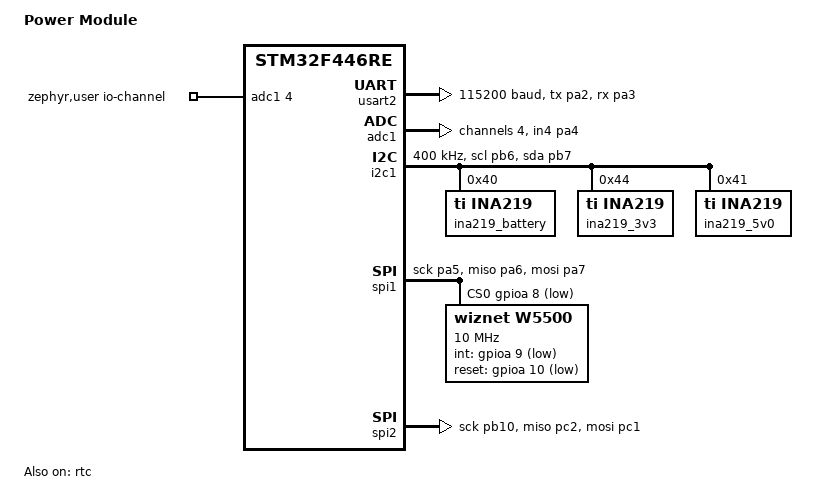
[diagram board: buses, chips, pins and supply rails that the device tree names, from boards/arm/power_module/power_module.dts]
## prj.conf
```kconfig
# Copyright (c) 2024 Aaron Chan
# SPDX-License-Identifier: Apache-2.0

CONFIG_LAUNCH_LIB=y
```

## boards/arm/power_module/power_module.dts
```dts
/*
 * Copyright (c) 2023 Aaron Chan
 *
 * SPDX-License-Identifier: Apache-2.0
 */

/dts-v1/;
#include <st/f4/stm32f446Xe.dtsi>
#include <st/f4/stm32f446r(c-e)tx-pinctrl.dtsi>
#include <zephyr/dt-bindings/input/input-event-codes.h>

/ {
	model = "Power Module";
	compatible = "st,stm32f446re-nucleo";

	chosen {
		zephyr,console = &usart2;
		zephyr,shell-uart = &usart2;
		zephyr,sram = &sram0;
		zephyr,flash = &flash0;
	};

	leds: leds {
		compatible = "gpio-leds";
	};

    zephyr,user {
        io-channels = <&adc1 4>;
    };

    aliases {
	};
};

&clk_lsi {
	status = "okay";
};

&clk_hsi {
	clock-frequency = <DT_FREQ_M(16)>;
	status = "okay";
};

&pll {
	div-m = <8>;
	mul-n = <90>;
	div-p = <2>;
	clocks = <&clk_hsi>;
	status = "okay";
};

&rcc {
	clocks = <&pll>;
	clock-frequency = <DT_FREQ_M(45)>;
	ahb-prescaler = <2>;
	apb1-prescaler = <2>;
	apb2-prescaler = <1>;
};

// Modify when we finally get UART on REV2
&usart2 {
	pinctrl-0 = <&usart2_tx_pa2 &usart2_rx_pa3>;
	pinctrl-names = "default";
	current-speed = <115200>;
	status = "okay"; 
};

&adc1 {
	pinctrl-0 = <&adc1_in4_pa4>;
	pinctrl-names = "default";
	st,adc-clock-source = <SYNC>;
	st,adc-prescaler = <2>;
	status = "okay";
    
    #address-cells = <1>;
	#size-cells = <0>;
    
    channel@4 {
		reg = <4>;
		zephyr,gain = "ADC_GAIN_1";
		zephyr,reference = "ADC_REF_INTERNAL";
		zephyr,acquisition-time = <ADC_ACQ_TIME_DEFAULT>;
		zephyr,resolution = <12>;
	};
};

&i2c1 {
	pinctrl-0 = <&i2c1_scl_pb6 &i2c1_sda_pb7>;
	pinctrl-names = "default";
	status = "okay";
	clock-frequency = <I2C_BITRATE_FAST>;

    ina219_battery@40 {
		status = "okay";
		compatible = "ti,ina219";
		reg = <0x40>;
		brng = <0>;
		pg = <0>;
		sadc = <13>;
		badc = <13>;
		shunt-milliohm = <100>;
		lsb-microamp = <10>;
	};

    ina219_3v3@44 {
		status = "okay";
		compatible = "ti,ina219";
		reg = <0x44>;
		brng = <0>;
		pg = <0>;
		sadc = <13>;
		badc = <13>;
		shunt-milliohm = <100>;
		lsb-microamp = <10>;
	};

    ina219_5v0@41 {
		status = "okay";
		compatible = "ti,ina219";
		reg = <0x41>;
		brng = <0>;
		pg = <0>;
		sadc = <13>;
		badc = <13>;
		shunt-milliohm = <100>;
		lsb-microamp = <10>;
	};
};

&spi1 {
	pinctrl-0 = <&spi1_sck_pa5 &spi1_miso_pa6 &spi1_mosi_pa7>;
    cs-gpios = <&gpioa 8 GPIO_ACTIVE_LOW>;
	pinctrl-names = "default";
	status = "okay";

    w5500: w5500@0 {
        compatible = "wiznet,w5500";
        reg = <0x0>;
        spi-max-frequency = <10000000>;
        int-gpios = <&gpioa 9 GPIO_ACTIVE_LOW>;
        reset-gpios = <&gpioa 10 GPIO_ACTIVE_LOW>;
    };
};

&spi2 {
	pinctrl-0 = <&spi2_sck_pb10 &spi2_miso_pc2 &spi2_mosi_pc1>;
    cs-gpios = <&gpioc 0 GPIO_ACTIVE_LOW>;
	pinctrl-names = "default";
	status = "okay";
};

&rtc {
	clocks = <&rcc STM32_CLOCK_BUS_APB1 0x10000000>,
		 <&rcc STM32_SRC_LSI RTC_SEL(2)>;
	status = "okay";
};

&backup_sram {
	status = "okay";
};

&flash0 {

	partitions {
		compatible = "fixed-partitions";
		#address-cells = <1>;
		#size-cells = <1>;

		boot_partition: partition@0 {
			label = "mcuboot";
			reg = <0x00000000 DT_SIZE_K(64)>;
			read-only;
		};

		/*
		 * The flash starting at 0x00010000 and ending at
		 * 0x0001ffff (sectors 16-31) is reserved for use
		 * by the application.
		 */
		storage_partition: partition@10000 {
			label = "storage";
			reg = <0x00010000 DT_SIZE_K(64)>;
		};

		slot0_partition: partition@20000 {
			label = "image-0";
			reg = <0x00020000 DT_SIZE_K(128)>;
		};
		slot1_partition: partition@40000 {
			label = "image-1";
			reg = <0x00040000 DT_SIZE_K(128)>;
		};
		scratch_partition: partition@60000 {
			label = "image-scratch";
			reg = <0x00060000 DT_SIZE_K(128)>;
		};
	};
};
```

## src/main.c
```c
/*
 * Copyright (c) 2023 Aaron Chan
 *
 * SPDX-License-Identifier: Apache-2.0
 */

#include "telem.h"
#include <launch/net_utils.h>

#include <zephyr/fs/fs.h>
#include <zephyr/fs/littlefs.h>
#include <zephyr/kernel.h>
#include <zephyr/logging/log.h>
#include <zephyr/storage/flash_map.h>

LOG_MODULE_REGISTER(main, CONFIG_APP_LOG_LEVEL);

static int init(void) {
    int ret = -1;
    // Guarantee physical layer before initializing upper layers
    if (!init_eth_iface()) {
        ret = init_net_stack();
    } 
    
    init_telem_tasks();
    return 0;
}


int main(void) {
    if (init()) {
        return -1;
    }

    // Won't run if initializing the network stack failed
    while (true) {
        convert_and_send();

        k_sleep(K_MSEC(100));
    }
    return 0;
}
```

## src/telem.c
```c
/*
 * Copyright (c) 2023 Aaron Chan
 *
 * SPDX-License-Identifier: Apache-2.0
 */

#include "telem.h"
#include <launch/net_utils.h>
#include <stdint.h>

#include <zephyr/kernel.h>

#include <zephyr/drivers/adc.h>
#include <zephyr/drivers/gpio.h>

#include <zephyr/logging/log.h>

#define STACK_SIZE (2048)

LOG_MODULE_REGISTER(telem, CONFIG_APP_LOG_LEVEL);

//static K_THREAD_STACK_DEFINE(adc_stack, STACK_SIZE);
static K_THREAD_STACK_ARRAY_DEFINE(stacks, 4, STACK_SIZE);

static power_module_data_t power_module_data = {0};
static struct k_thread threads[4] = {0};

static void ina_task(void *p_id, void *unused1, void *unused2) {
    const struct device *dev;
    ina_data_t *ina_data;

    switch (POINTER_TO_INT(p_id)) {
        case 0:
            dev = DEVICE_DT_GET(DT_INST(0, ti_ina219));
            ina_data = &power_module_data.ina_battery;
            break;
        case 1:
            dev = DEVICE_DT_GET(DT_INST(1, ti_ina219));
            ina_data = &power_module_data.ina_3v3;
            break;
        case 2:
            dev = DEVICE_DT_GET(DT_INST(2, ti_ina219));
            ina_data = &power_module_data.ina_5v0;
            break;
        default:
            return;
    }


    while (true) {
        sensor_sample_fetch(dev);
        sensor_channel_get(dev, SENSOR_CHAN_VOLTAGE, &ina_data->voltage);
        sensor_channel_get(dev, SENSOR_CHAN_POWER, &ina_data->power);
        sensor_channel_get(dev, SENSOR_CHAN_CURRENT, &ina_data->current);
    }
}

// static void adc_task(void *unused0, void *unused1, void *unused2) {
//     uint16_t buff;
//     
//     struct adc_sequence adc_seq = {
//         .buffer = &buff,
//         .buffer_size = sizeof(buff)
//     };
//
//     static const struct adc_channel_cfg vin_volt_sens_channel = ADC_CHANNEL_CFG_DT(adc1);
//     // if (!adc_is_ready_dt()) {
//     //     LOG_ERR("ADC device is not ready\n");
//     //     return;
//     // }
//
//     // if (!adc_channel_setup_dt()) {
//     //     LOG_ERR("ADC channel setup failed\n");
//     //     return;
//     // }
//
//
//     while (1) {
//         int32_t tmp = 0;
//         // if (!adc_read(, &adc_seq)) {
//         //     LOG_ERR("ADC read failed\n");
//         //     continue;
//         // }
//         //
//         // if (adc_raw_to_millivolts_dt(, &tmp)) {
//             power_module_data.vin_voltage_sense = tmp;
//         k_msleep(1000);
//         // }
//     };
// }

void init_telem_tasks() { 
    for (int i = 0; i < 3; i++) {
        k_thread_create(&threads[i], &stacks[i][0], STACK_SIZE,
                        ina_task, INT_TO_POINTER(i), NULL, NULL,
                        K_PRIO_PREEMPT(10), 0, K_NO_WAIT);

        k_thread_start(&threads[i]);
    }
}

void convert_and_send() {
    static power_module_packet_t packet = {0};
    static uint8_t flip_flop = 0;

    packet.current_battery =  sensor_value_to_float(&power_module_data.ina_battery.current);
    packet.voltage_battery = sensor_value_to_float(&power_module_data.ina_battery.voltage);
    packet.power_battery = sensor_value_to_float(&power_module_data.ina_battery.power);

    packet.current_3v3 = sensor_value_to_float(&power_module_data.ina_3v3.current);
    packet.voltage_3v3 = sensor_value_to_float(&power_module_data.ina_3v3.voltage);
    packet.power_3v3 = sensor_value_to_float(&power_module_data.ina_3v3.power);

    packet.current_5v0 = sensor_value_to_float(&power_module_data.ina_5v0.current);
    packet.voltage_5v0 = sensor_value_to_float(&power_module_data.ina_5v0.voltage);
    packet.power_5v0 = sensor_value_to_float(&power_module_data.ina_5v0.power);
    packet.vin_voltage_sense = flip_flop ? 0xDEAD : 0xBEEF;
    flip_flop ^= 0b1; 


    send_udp_broadcast((const uint8_t *) &packet, sizeof(power_module_packet_t), 9000);
}
```
